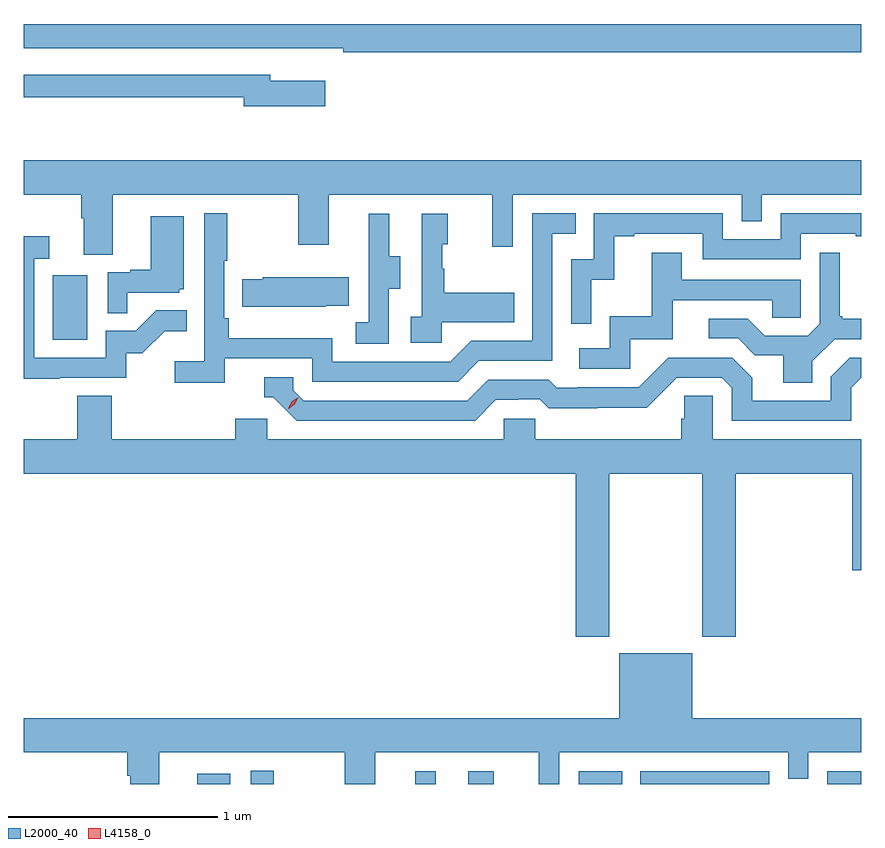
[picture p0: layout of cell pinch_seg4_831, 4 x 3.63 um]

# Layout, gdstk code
import gdstk
lib = gdstk.Library(unit=1e-6, precision=1e-09)
def R(c, l, rs):  # rectangles x0, y0, x1, y1
    for r in rs: c.add(gdstk.rectangle(r[:2], r[2:], *l))
def P(c, l, *ps):  # polygons
    for p in ps: c.add(gdstk.Polygon(p, *l))
L2000_40 = (2000, 40)
L4158_0 = (4158, 0)

pinch_seg4_831 = lib.new_cell('pinch_seg4_831')
R(pinch_seg4_831, L2000_40, [(868.418,808.657,868.576,808.705), (868.674,808.657,868.783,808.72), (869.459,808.657,869.557,808.717), (869.712,808.657,869.836,808.717), (870.24,808.657,870.449,808.719), (870.534,808.657,871.152,808.719), (871.428,808.657,871.59,808.719), (867.728,810.78,867.892,811.087)])
P(pinch_seg4_831, L2000_40, [(871.59,812.288),(867.59,812.288),(867.59,812.172),(868.864,812.172),(868.864,812.171),(869.116,812.171),(869.116,812.152),(871.59,812.152)],
  [(869.029,812.017),(868.768,812.017),(868.768,812.046),(867.59,812.046),(867.59,811.938),(868.64,811.938),(868.64,811.895),(869.029,811.895)],
  [(868.015,811.472),(868.9,811.472),(868.9,811.233),(869.047,811.233),(869.047,811.472),(869.828,811.472),(869.828,811.224),(869.925,811.224),(869.925,811.472),(871.02,811.472),(871.02,811.345),(871.116,811.345),(871.116,811.472),(871.59,811.472),(871.59,811.636),(867.59,811.636),(867.59,811.472),(867.863,811.472),(867.863,811.36),(867.875,811.36),(867.875,811.186),(868.015,811.186)],
  [(868.55,810.69),(868.968,810.69),(868.968,810.579),(869.665,810.579),(869.764,810.678),(870.114,810.678),(870.114,811.287),(870.227,811.287),(870.227,811.383),(870.018,811.383),(870.018,810.774),(869.727,810.774),(869.628,810.675),(869.064,810.675),(869.064,810.787),(868.568,810.787),(868.568,810.883),(868.548,810.883),(868.548,811.156),(868.561,811.156),(868.561,811.384),(868.452,811.384),(868.452,810.676),(868.311,810.676),(868.311,810.574),(868.55,810.574)],
  [(870.3,811.067),(870.41,811.067),(870.41,811.275),(870.505,811.275),(870.505,811.287),(870.834,811.287),(870.834,811.164),(871.302,811.164),(871.302,811.287),(871.565,811.287),(871.565,811.275),(871.59,811.275),(871.59,811.383),(871.206,811.383),(871.206,811.26),(870.93,811.26),(870.93,811.383),(870.312,811.383),(870.312,811.164),(870.204,811.164),(870.204,810.855),(870.3,810.855)],
  [(869.586,810.863),(869.933,810.863),(869.933,811.003),(869.599,811.003),(869.599,811.118),(869.589,811.118),(869.589,811.236),(869.614,811.236),(869.614,811.381),(869.49,811.381),(869.49,810.89),(869.439,810.89),(869.439,810.765),(869.586,810.765)],
  [(869.334,811.024),(869.389,811.024),(869.389,811.179),(869.335,811.179),(869.335,811.381),(869.237,811.381),(869.237,811.167),(869.238,811.167),(869.238,810.863),(869.175,810.863),(869.175,810.76),(869.334,810.76)],
  [(868.085,811.005),(868.332,811.005),(868.332,811.02),(868.354,811.02),(868.354,811.369),(868.196,811.369),(868.196,811.114),(868.097,811.114),(868.097,811.101),(867.99,811.101),(867.99,810.907),(868.085,810.907)],
  [(867.761,810.597),(868.08,810.597),(868.08,810.714),(868.156,810.714),(868.263,810.821),(868.367,810.821),(868.367,810.92),(868.223,810.92),(868.125,810.822),(867.981,810.822),(867.981,810.693),(867.639,810.693),(867.639,811.167),(867.712,811.167),(867.712,811.273),(867.59,811.273),(867.59,810.592),(867.761,810.592)],
  [(870.486,810.783),(870.691,810.783),(870.691,810.969),(871.165,810.969),(871.165,810.885),(871.302,810.885),(871.302,811.065),(870.733,811.065),(870.733,811.195),(870.589,811.195),(870.589,810.892),(870.39,810.892),(870.39,810.738),(870.243,810.738),(870.243,810.642),(870.486,810.642)],
  [(871.357,810.676),(871.464,810.783),(871.59,810.783),(871.59,810.88),(871.501,810.88),(871.501,810.892),(871.489,810.892),(871.489,811.195),(871.392,811.195),(871.392,810.855),(871.335,810.798),(871.129,810.798),(871.048,810.879),(870.861,810.879),(870.861,810.786),(871.002,810.786),(871.082,810.706),(871.217,810.706),(871.217,810.574),(871.357,810.574)],
  [(869.033,810.941),(869.141,810.941),(869.141,811.078),(868.731,811.078),(868.731,811.068),(868.633,811.068),(868.633,810.938),(869.033,810.938)],
  [(869.845,810.492),(869.952,810.492),(869.952,810.495),(870.055,810.495),(870.097,810.453),(870.33,810.453),(870.33,810.455),(870.566,810.455),(870.708,810.597),(870.924,810.597),(870.972,810.549),(870.972,810.393),(871.542,810.393),(871.542,810.549),(871.59,810.597),(871.59,810.693),(871.536,810.693),(871.446,810.603),(871.446,810.489),(871.069,810.489),(871.069,810.599),(870.975,810.693),(870.669,810.693),(870.528,810.552),(870.235,810.552),(870.235,810.549),(870.136,810.549),(870.097,810.588),(869.808,810.588),(869.709,810.489),(868.926,810.489),(868.878,810.537),(868.878,810.6),(868.739,810.6),(868.739,810.504),(868.782,810.504),(868.893,810.393),(869.746,810.393)],
  [(870.387,810.14),(870.832,810.14),(870.832,809.361),(870.992,809.361),(870.992,810.14),(871.547,810.14),(871.547,809.679),(871.59,809.679),(871.59,810.304),(870.882,810.304),(870.882,810.512),(870.745,810.512),(870.745,810.402),(870.731,810.402),(870.731,810.304),(870.033,810.304),(870.033,810.402),(869.883,810.402),(869.883,810.304),(868.752,810.304),(868.752,810.402),(868.601,810.402),(868.601,810.304),(868.01,810.304),(868.01,810.512),(867.845,810.512),(867.845,810.304),(867.59,810.304),(867.59,810.14),(870.227,810.14),(870.227,809.361),(870.387,809.361)],
  [(868.237,808.808),(869.122,808.808),(869.122,808.657),(869.269,808.657),(869.269,808.808),(870.05,808.808),(870.05,808.657),(870.147,808.657),(870.147,808.808),(871.242,808.808),(871.242,808.681),(871.338,808.681),(871.338,808.808),(871.59,808.808),(871.59,808.972),(870.784,808.972),(870.784,809.281),(870.434,809.281),(870.434,808.972),(867.59,808.972),(867.59,808.808),(868.085,808.808),(868.085,808.696),(868.097,808.696),(868.097,808.657),(868.237,808.657)])
P(pinch_seg4_831, L4158_0, [(868.854,810.451),(868.854,810.452),(868.87,810.484),(868.901,810.504),(868.901,810.504),(868.901,810.504),(868.885,810.471),(868.855,810.451)])

lib.write_gds('pinch_seg4_831.gds')
